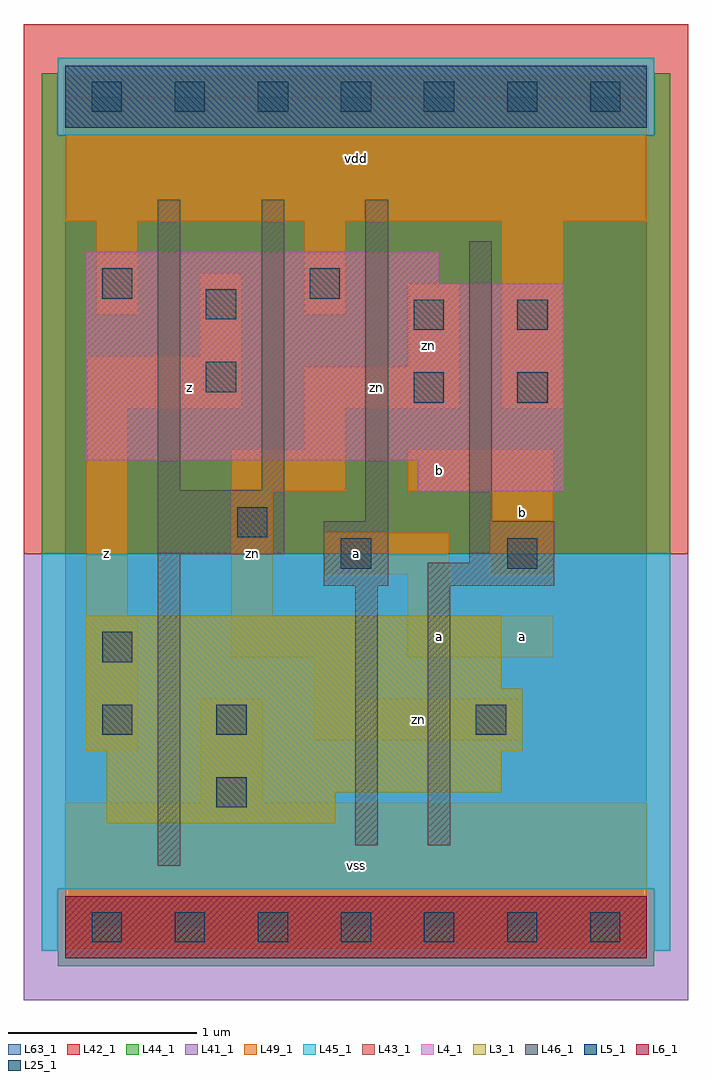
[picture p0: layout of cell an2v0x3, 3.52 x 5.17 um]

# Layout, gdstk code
import gdstk
lib = gdstk.Library(unit=1e-6, precision=1e-09)
def R(c, l, rs):  # rectangles x0, y0, x1, y1
    for r in rs: c.add(gdstk.rectangle(r[:2], r[2:], *l))
def A(c, l, x, y, w, h, nx, ny, dx, dy):  # array of equal rectangles
    R(c, l, [(x+i*dx, y+j*dy, x+i*dx+w, y+j*dy+h) for i in range(nx) for j in range(ny)])
L3_1 = (3, 1)
L4_1 = (4, 1)
L5_1 = (5, 1)
L6_1 = (6, 1)
L25_1 = (25, 1)
L41_1 = (41, 1)
L42_1 = (42, 1)
L43_1 = (43, 1)
L44_1 = (44, 1)
L45_1 = (45, 1)
L46_1 = (46, 1)
L49_1 = (49, 1)
L63_1 = (63, 1)

an2v0x3 = lib.new_cell('an2v0x3')
R(an2v0x3, L3_1, [(0.22,0.55,1.43,0.715), (0.22,0.715,2.31,0.935), (0.11,0.935,2.42,1.265), (0.11,1.265,2.31,1.65)])
R(an2v0x3, L4_1, [(1.87,2.31,2.64,2.475), (0.11,2.475,2.64,3.41), (0.11,3.41,1.98,3.575)])
R(an2v0x3, L5_1, [(0,4.235,3.08,4.565)])
R(an2v0x3, L6_1, [(0,-0.165,3.08,0.165)])
A(an2v0x3, L25_1, 0.14, -0.08, 0.16, 0.16, 7, 2, 0.44, 4.4)
R(an2v0x3, L25_1, [(0.8,0.635,0.96,0.795), (0.195,1.02,0.355,1.18), (0.8,1.02,0.96,1.18), (2.175,1.02,2.335,1.18), (0.195,1.405,0.355,1.565), (1.46,1.9,1.62,2.06), (2.34,1.9,2.5,2.06), (0.91,2.065,1.07,2.225), (1.845,2.78,2.005,2.94), (2.395,2.78,2.555,2.94), (0.745,2.835,0.905,2.995), (1.845,3.165,2.005,3.325), (2.395,3.165,2.555,3.325), (0.745,3.22,0.905,3.38), (0.195,3.33,0.355,3.49), (1.295,3.33,1.455,3.49)])
R(an2v0x3, L41_1, [(-0.22,-0.385,3.3,1.98)])
R(an2v0x3, L42_1, [(-0.22,1.98,3.3,4.785)])
R(an2v0x3, L43_1, [(0,-0.165,3.08,0.165), (0.22,0.55,1.43,0.715), (0.22,0.715,2.31,0.935), (0.11,0.935,2.42,1.265), (0.11,1.265,2.31,1.65), (1.87,2.31,2.64,2.475), (0.11,2.475,2.64,3.41), (0.11,3.41,1.98,3.575), (0,4.235,3.08,4.565)])
R(an2v0x3, L44_1, [(-0.04,-0.205,3.12,0.205), (-0.125,1.98,3.205,4.195), (-0.125,4.195,-0.04,4.525), (3.12,4.195,3.205,4.525)])
R(an2v0x3, L45_1, [(-0.125,-0.125,-0.04,0.205), (3.12,-0.125,3.205,0.205), (-0.125,0.205,3.205,1.98), (-0.04,4.195,3.12,4.605)])
R(an2v0x3, L46_1, [(0.49,0.325,0.61,1.975), (1.535,0.435,1.655,1.81), (1.92,0.435,2.04,1.81), (1.37,1.81,1.71,2.15), (1.92,1.81,2.59,1.93), (2.14,1.93,2.59,2.15), (0.49,1.975,1.16,2.315), (1.59,2.15,1.71,3.855), (2.14,2.15,2.26,3.635), (0.49,2.315,0.61,3.855), (1.04,2.315,1.16,3.855)])
R(an2v0x3, L49_1, [(0,-0.11,3.08,0.66), (0.715,0.66,1.045,1.21), (0.11,0.935,0.385,1.65), (1.32,0.99,2.42,1.21), (1.32,1.21,1.54,1.43), (0.88,1.43,1.54,1.65), (1.815,1.43,2.585,1.65), (0.11,1.65,0.33,2.75), (0.88,1.65,1.1,2.31), (1.815,1.65,2.035,1.87), (1.375,1.87,2.035,2.09), (2.255,1.87,2.585,2.31), (0.88,2.31,1.485,2.53), (1.815,2.31,2.585,2.53), (1.265,2.53,1.485,2.75), (0.11,2.75,0.935,3.025), (1.265,2.75,2.09,2.97), (2.31,2.75,2.64,3.74), (1.815,2.97,2.09,3.41), (0.715,3.025,0.935,3.465), (0.165,3.245,0.385,3.74), (1.265,3.245,1.485,3.74), (0,3.74,3.08,4.51)])
R(an2v0x3, L63_1, [(0,0,3.08,4.4)])
an2v0x3.add(gdstk.Label('z', (0.22,1.98), layer=49, texttype=1))
an2v0x3.add(gdstk.Label('zn', (0.99,1.98), layer=49, texttype=1))
an2v0x3.add(gdstk.Label('z', (0.66,2.86), layer=49, texttype=1))
an2v0x3.add(gdstk.Label('vss', (1.54,0.33), layer=49, texttype=1))
an2v0x3.add(gdstk.Label('a', (1.54,1.98), layer=49, texttype=1))
an2v0x3.add(gdstk.Label('a', (1.98,1.54), layer=49, texttype=1))
an2v0x3.add(gdstk.Label('b', (1.98,2.42), layer=49, texttype=1))
an2v0x3.add(gdstk.Label('zn', (1.65,2.86), layer=49, texttype=1))
an2v0x3.add(gdstk.Label('zn', (1.925,3.08), layer=49, texttype=1))
an2v0x3.add(gdstk.Label('vdd', (1.54,4.07), layer=49, texttype=1))
an2v0x3.add(gdstk.Label('zn', (1.87,1.1), layer=49, texttype=1))
an2v0x3.add(gdstk.Label('a', (2.42,1.54), layer=49, texttype=1))
an2v0x3.add(gdstk.Label('b', (2.42,2.2), layer=49, texttype=1))

lib.write_gds('an2v0x3.gds')
